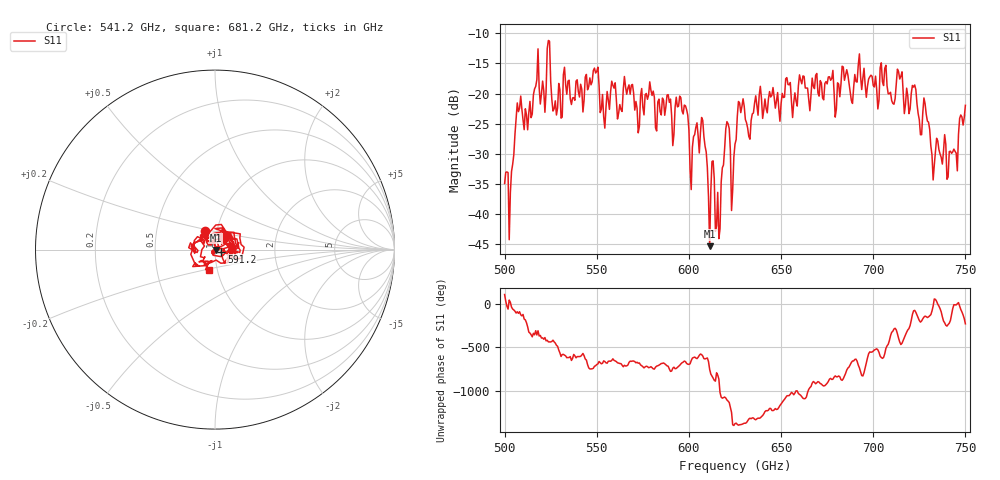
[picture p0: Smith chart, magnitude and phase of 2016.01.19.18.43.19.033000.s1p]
!Created with skrf (http://scikit-rf.org).
# GHz S RI R 50.0
!freq ReS11 ImS11
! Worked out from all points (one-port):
!   401 points, 500 GHz to 750 GHz, reference 50 ohm
!   lowest |S11| = -45.4 dB at 611.2 GHz (marker M1), VSWR 1.01, Z = 50.5 - j0.275 ohm
!   |S11| at or under -10 dB: start of sweep to end of sweep
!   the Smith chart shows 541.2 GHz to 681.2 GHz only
!   S11 on the Smith chart (normalised r, x): 541.2 GHz: 0.87, +0.19; 591.2 GHz: 1.07, -0.02; 681.2 GHz: 0.91, -0.21
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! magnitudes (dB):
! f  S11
! 500 GHz  -35.0
! 503.8 GHz  -33.0
! 507.5 GHz  -23.0
! 520.6 GHz  -17.9
! 523.8 GHz  -11.2
! 526.9 GHz  -22.5
! 531.2 GHz  -23.9
! 541.2 GHz  -18.5
! 549.4 GHz  -16.6
! 553.1 GHz  -20.2
! 562.5 GHz  -21.8
! 566.2 GHz  -20.1
! 591.2 GHz  -28.7
! 593.8 GHz  -22.2
! 601.2 GHz  -36.0
! 607.5 GHz  -24.5
! 611.2 GHz  -45.4
! 615.6 GHz  -36.5
! 620.6 GHz  -24.7
! 625 GHz  -28.4
! 628.1 GHz  -23.2
! 656.2 GHz  -24.0
! 681.2 GHz  -18.4
! 687.5 GHz  -19.8
! 714.4 GHz  -17.6
! 718.8 GHz  -20.4
! 741.2 GHz  -29.7
! 750 GHz  -22.0
